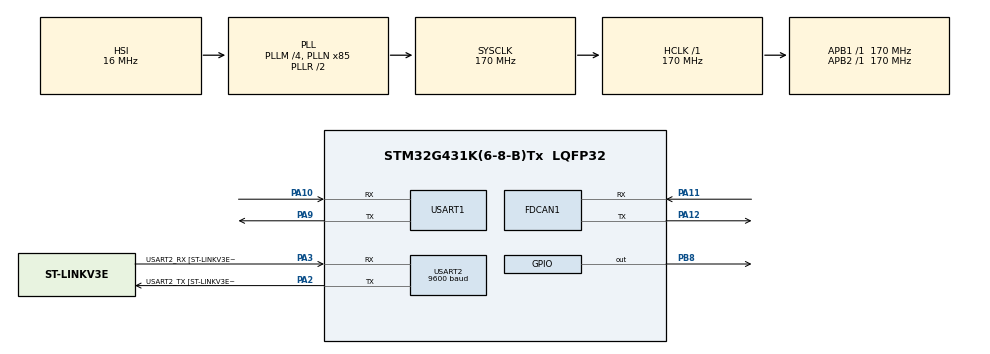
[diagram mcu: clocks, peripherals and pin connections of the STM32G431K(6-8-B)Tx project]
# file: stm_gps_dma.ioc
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Dma.Request0=USART1_RX
Dma.USART1_RX.0.Direction=DMA_PERIPH_TO_MEMORY
Dma.USART1_RX.0.EventEnable=DISABLE
Dma.USART1_RX.0.Instance=DMA1_Channel1
Dma.USART1_RX.0.MemDataAlignment=DMA_MDATAALIGN_BYTE
Dma.USART1_RX.0.MemInc=DMA_MINC_ENABLE
Dma.USART1_RX.0.Mode=DMA_CIRCULAR
Dma.USART1_RX.0.PeriphDataAlignment=DMA_PDATAALIGN_BYTE
Dma.USART1_RX.0.PeriphInc=DMA_PINC_DISABLE
Dma.USART1_RX.0.Polarity=HAL_DMAMUX_REQ_GEN_RISING
Dma.USART1_RX.0.Priority=DMA_PRIORITY_LOW
Dma.USART1_RX.0.RequestNumber=1
Dma.USART1_RX.0.SignalID=NONE
Dma.USART1_RX.0.SyncEnable=DISABLE
Dma.USART1_RX.0.SyncPolarity=HAL_DMAMUX_SYNC_NO_EVENT
Dma.USART1_RX.0.SyncRequestNumber=1
Dma.USART1_RX.0.SyncSignalID=NONE
FDCAN1.CalculateBaudRateNominal=3541666
FDCAN1.CalculateTimeBitNominal=282
FDCAN1.CalculateTimeQuantumNominal=94.11764705882354
Mcu.Family=STM32G4
Mcu.Name=STM32G431K(6-8-B)Tx
Mcu.Package=LQFP32
NUCLEO-G431KB.LD2=true
NVIC.DMA1_Channel1_IRQn=true\:0\:0\:false\:false\:true\:false\:true\:true
NVIC.PriorityGroup=NVIC_PRIORITYGROUP_4
PA10.Mode=Asynchronous
PA10.Signal=USART1_RX
PA11.Mode=FDCAN_Activate
PA11.Signal=FDCAN1_RX
PA12.Mode=FDCAN_Activate
PA12.Signal=FDCAN1_TX
PA13.GPIO_Label=T_SWDIO
PA13.Signal=SYS_JTMS-SWDIO
PA14.GPIO_Label=T_SWCLK
PA14.Signal=SYS_JTCK-SWCLK
PA2.GPIO_Label=USART2_TX [ST-LINKV3E_VCP_RX]
PA2.Mode=Asynchronous
PA2.Signal=USART2_TX
PA3.GPIO_Label=USART2_RX [ST-LINKV3E_VCP_TX]
PA3.Mode=Asynchronous
PA3.Signal=USART2_RX
PA9.Mode=Asynchronous
PA9.Signal=USART1_TX
PB3.GPIO_Label=T_SWO
PB3.Signal=SYS_JTDO-SWO
PB8-BOOT0.Signal=GPIO_Output
ProjectManager.HeapSize=0x200
ProjectManager.StackSize=0x400
ProjectManager.TargetToolchain=STM32CubeIDE
RCC.ADC12Freq_Value=170000000
RCC.AHBFreq_Value=170000000
RCC.APB1Freq_Value=170000000
RCC.APB1TimFreq_Value=170000000
RCC.APB2Freq_Value=170000000
RCC.APB2TimFreq_Value=170000000
RCC.CortexFreq_Value=170000000
RCC.EXTERNAL_CLOCK_VALUE=12288000
RCC.HCLKFreq_Value=170000000
RCC.HSE_VALUE=8000000
RCC.HSI48_VALUE=48000000
RCC.HSI_VALUE=16000000
RCC.LSE_VALUE=32768
RCC.PLLM=RCC_PLLM_DIV4
RCC.PLLN=85
RCC.SYSCLKFreq_VALUE=170000000
RCC.SYSCLKSource=RCC_SYSCLKSOURCE_PLLCLK
RCC.USBFreq_Value=170000000
RCC.VCOOutputFreq_Value=340000000
USART1.VirtualMode-Asynchronous=VM_ASYNC
USART2.BaudRate=9600
USART2.VirtualMode-Asynchronous=VM_ASYNC
VP_NUCLEO-G431KB_VS_BSP_COMMON.Mode=COMMON
VP_SYS_VS_DBSignals.Mode=DisableDeadBatterySignals
board=NUCLEO-G431KB

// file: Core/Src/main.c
/* USER CODE BEGIN Header */
/**
  ******************************************************************************
  * @file           : main.c
  * @brief          : Main program body
  ******************************************************************************
  * @attention
  *
  * Copyright (c) 2025 STMicroelectronics.
  * All rights reserved.
  *
  * This software is licensed under terms that can be found in the LICENSE file
  * in the root directory of this software component.
  * If no LICENSE file comes with this software, it is provided AS-IS.
  *
  ******************************************************************************
  */
/* USER CODE END Header */
#include "main.h"
#include "stdio.h"
#include "string.h"
#include "stdlib.h"

FDCAN_HandleTypeDef hfdcan1;

UART_HandleTypeDef huart1;
UART_HandleTypeDef huart2;
DMA_HandleTypeDef hdma_usart1_rx;

/* USER CODE BEGIN PV */
uint8_t Rxdata[750];
char Txdata[750];
char GPS_Payyload[100];
uint8_t Flag=0;
static int Msgindex;
char *ptr;

float time,Latitude, Longitude;
int Hours,Min,Sec;
/* USER CODE END PV */

void SystemClock_Config(void);
static void MX_GPIO_Init(void);
static void MX_DMA_Init(void);
static void MX_USART1_UART_Init(void);
static void MX_USART2_UART_Init(void);
static void MX_FDCAN1_Init(void);
/* USER CODE BEGIN PFP */
void get_location(void);
void Format_data(float Time, float Lat, float Long);
/* USER CODE END PFP */

int main(void)
{

  /* MCU Configuration--------------------------------------------------------*/

  /* Reset of all peripherals, Initializes the Flash interface and the Systick. */
  HAL_Init();

  /* Configure the system clock */
  SystemClock_Config();

  /* Initialize all configured peripherals */
  MX_GPIO_Init();
  MX_DMA_Init();
  MX_USART1_UART_Init();
  MX_USART2_UART_Init();
  MX_FDCAN1_Init();

  /* Initialize leds */
  BSP_LED_Init(LED_GREEN);
  HAL_UART_Receive_DMA(&huart1, (uint8_t*)Rxdata,700);

  /* Infinite loop */
  while (1)
  {
	  get_location();
  }
}

void SystemClock_Config(void)
{
  RCC_OscInitTypeDef RCC_OscInitStruct = {0};
  RCC_ClkInitTypeDef RCC_ClkInitStruct = {0};

  /** Configure the main internal regulator output voltage
  */
  HAL_PWREx_ControlVoltageScaling(PWR_REGULATOR_VOLTAGE_SCALE1_BOOST);

  /** Initializes the RCC Oscillators according to the specified parameters
  * in the RCC_OscInitTypeDef structure.
  */
  RCC_OscInitStruct.OscillatorType = RCC_OSCILLATORTYPE_HSI;
  RCC_OscInitStruct.HSIState = RCC_HSI_ON;
  RCC_OscInitStruct.HSICalibrationValue = RCC_HSICALIBRATION_DEFAULT;
  RCC_OscInitStruct.PLL.PLLState = RCC_PLL_ON;
  RCC_OscInitStruct.PLL.PLLSource = RCC_PLLSOURCE_HSI;
  RCC_OscInitStruct.PLL.PLLM = RCC_PLLM_DIV4;
  RCC_OscInitStruct.PLL.PLLN = 85;
  RCC_OscInitStruct.PLL.PLLP = RCC_PLLP_DIV2;
  RCC_OscInitStruct.PLL.PLLQ = RCC_PLLQ_DIV2;
  RCC_OscInitStruct.PLL.PLLR = RCC_PLLR_DIV2;
  if (HAL_RCC_OscConfig(&RCC_OscInitStruct) != HAL_OK)
  {
    Error_Handler();
  }

  /** Initializes the CPU, AHB and APB buses clocks
  */
  RCC_ClkInitStruct.ClockType = RCC_CLOCKTYPE_HCLK|RCC_CLOCKTYPE_SYSCLK
                              |RCC_CLOCKTYPE_PCLK1|RCC_CLOCKTYPE_PCLK2;
  RCC_ClkInitStruct.SYSCLKSource = RCC_SYSCLKSOURCE_PLLCLK;
  RCC_ClkInitStruct.AHBCLKDivider = RCC_SYSCLK_DIV1;
  RCC_ClkInitStruct.APB1CLKDivider = RCC_HCLK_DIV1;
  RCC_ClkInitStruct.APB2CLKDivider = RCC_HCLK_DIV1;

  if (HAL_RCC_ClockConfig(&RCC_ClkInitStruct, FLASH_LATENCY_4) != HAL_OK)
  {
    Error_Handler();
  }
}

static void MX_FDCAN1_Init(void)
{

  hfdcan1.Instance = FDCAN1;
  hfdcan1.Init.ClockDivider = FDCAN_CLOCK_DIV1;
  hfdcan1.Init.FrameFormat = FDCAN_FRAME_CLASSIC;
  hfdcan1.Init.Mode = FDCAN_MODE_NORMAL;
  hfdcan1.Init.AutoRetransmission = DISABLE;
  hfdcan1.Init.TransmitPause = DISABLE;
  hfdcan1.Init.ProtocolException = DISABLE;
  hfdcan1.Init.NominalPrescaler = 16;
  hfdcan1.Init.NominalSyncJumpWidth = 1;
  hfdcan1.Init.NominalTimeSeg1 = 1;
  hfdcan1.Init.NominalTimeSeg2 = 1;
  hfdcan1.Init.DataPrescaler = 1;
  hfdcan1.Init.DataSyncJumpWidth = 1;
  hfdcan1.Init.DataTimeSeg1 = 1;
  hfdcan1.Init.DataTimeSeg2 = 1;
  hfdcan1.Init.StdFiltersNbr = 0;
  hfdcan1.Init.ExtFiltersNbr = 0;
  hfdcan1.Init.TxFifoQueueMode = FDCAN_TX_FIFO_OPERATION;
  if (HAL_FDCAN_Init(&hfdcan1) != HAL_OK)
  {
    Error_Handler();
  }

}

static void MX_USART1_UART_Init(void)
{

  huart1.Instance = USART1;
  huart1.Init.BaudRate = 9600;
  huart1.Init.WordLength = UART_WORDLENGTH_8B;
  huart1.Init.StopBits = UART_STOPBITS_1;
  huart1.Init.Parity = UART_PARITY_NONE;
  huart1.Init.Mode = UART_MODE_TX_RX;
  huart1.Init.HwFlowCtl = UART_HWCONTROL_NONE;
  huart1.Init.OverSampling = UART_OVERSAMPLING_16;
  huart1.Init.OneBitSampling = UART_ONE_BIT_SAMPLE_DISABLE;
  huart1.Init.ClockPrescaler = UART_PRESCALER_DIV1;
  huart1.AdvancedInit.AdvFeatureInit = UART_ADVFEATURE_NO_INIT;
  if (HAL_UART_Init(&huart1) != HAL_OK)
  {
    Error_Handler();
  }
  if (HAL_UARTEx_SetTxFifoThreshold(&huart1, UART_TXFIFO_THRESHOLD_1_8) != HAL_OK)
  {
    Error_Handler();
  }
  if (HAL_UARTEx_SetRxFifoThreshold(&huart1, UART_RXFIFO_THRESHOLD_1_8) != HAL_OK)
  {
    Error_Handler();
  }
  if (HAL_UARTEx_DisableFifoMode(&huart1) != HAL_OK)
  {
    Error_Handler();
  }

}

static void MX_USART2_UART_Init(void)
{

  huart2.Instance = USART2;
  huart2.Init.BaudRate = 9600;
  huart2.Init.WordLength = UART_WORDLENGTH_8B;
  huart2.Init.StopBits = UART_STOPBITS_1;
  huart2.Init.Parity = UART_PARITY_NONE;
  huart2.Init.Mode = UART_MODE_TX_RX;
  huart2.Init.HwFlowCtl = UART_HWCONTROL_NONE;
  huart2.Init.OverSampling = UART_OVERSAMPLING_16;
  huart2.Init.OneBitSampling = UART_ONE_BIT_SAMPLE_DISABLE;
  huart2.Init.ClockPrescaler = UART_PRESCALER_DIV1;
  huart2.AdvancedInit.AdvFeatureInit = UART_ADVFEATURE_NO_INIT;
  if (HAL_UART_Init(&huart2) != HAL_OK)
  {
    Error_Handler();
  }
  if (HAL_UARTEx_SetTxFifoThreshold(&huart2, UART_TXFIFO_THRESHOLD_1_8) != HAL_OK)
  {
    Error_Handler();
  }
  if (HAL_UARTEx_SetRxFifoThreshold(&huart2, UART_RXFIFO_THRESHOLD_1_8) != HAL_OK)
  {
    Error_Handler();
  }
  if (HAL_UARTEx_DisableFifoMode(&huart2) != HAL_OK)
  {
    Error_Handler();
  }

}

static void MX_DMA_Init(void)
{

  /* DMA controller clock enable */
  __HAL_RCC_DMAMUX1_CLK_ENABLE();
  __HAL_RCC_DMA1_CLK_ENABLE();

  /* DMA interrupt init */
  /* DMA1_Channel1_IRQn interrupt configuration */
  HAL_NVIC_SetPriority(DMA1_Channel1_IRQn, 0, 0);
  HAL_NVIC_EnableIRQ(DMA1_Channel1_IRQn);

}

static void MX_GPIO_Init(void)
{

  /* GPIO Ports Clock Enable */
  __HAL_RCC_GPIOA_CLK_ENABLE();
  __HAL_RCC_GPIOB_CLK_ENABLE();

}

/* USER CODE BEGIN 4 */
void HAL_UART_RxCpltCallback(UART_HandleTypeDef *huart){
	Flag=1;
}
void get_location(void){
	HAL_UART_Transmit(&huart2,(uint8_t*)Txdata,strlen(Txdata), HAL_MAX_DELAY);
	if(Flag==1){
		Msgindex=0;
		strcpy(Txdata,(char*)(Rxdata));
		ptr=strstr(Txdata,"GPRMC");
		if(*ptr=='G'){
			while(1){
				GPS_Payyload[Msgindex]=*ptr;
				Msgindex++;
				*ptr=*(ptr+Msgindex);
				if(*ptr=='\n'){
					GPS_Payyload[Msgindex]='\0';
					break;
				}
			}
			sscanf(GPS_Payyload,"GPRMC,%f,A,%f,N,%f,", &time, &Latitude, &Longitude);
			//Format_data(time,Latitude,Longitude);
			HAL_Delay(1);
			Flag=0;

		}
	}
}

void Format_data(float Time, float Lat, float Long){
	char Data[100];
	Hours=(int)Time/10000;
	Min=(int)(Time-(Hours*10000))/100;
	Sec=(int)(Time-((Hours*10000)+(Min *100)));
	sprintf(Data,"\r\nTime=%d:%d:%d Lat=%f,Long=%f",Hours+3,Min,Sec,Latitude,Longitude);
	HAL_UART_Transmit(&huart2,(uint8_t*)Data,strlen(Data), HAL_MAX_DELAY);
	HAL_UART_Transmit(&huart2,(uint8_t*)"\r\n\n",3, HAL_MAX_DELAY);

}
/* USER CODE END 4 */

/* USER CODE BEGIN Header */
/**
  ******************************************************************************
  * File Name          :
  * Description        :
  ******************************************************************************
  * @attention
  *
  * Copyright (c) 2025 STMicroelectronics.
  * All rights reserved.
  *
  * This software is licensed under terms that can be found in the LICENSE file
  * in the root directory of this software component.
  * If no LICENSE file comes with this software, it is provided AS-IS.
  *
  ******************************************************************************
  */
/* USER CODE END Header */

void Error_Handler(void)
{
  __disable_irq();
  while (1)
  {
  }
}
